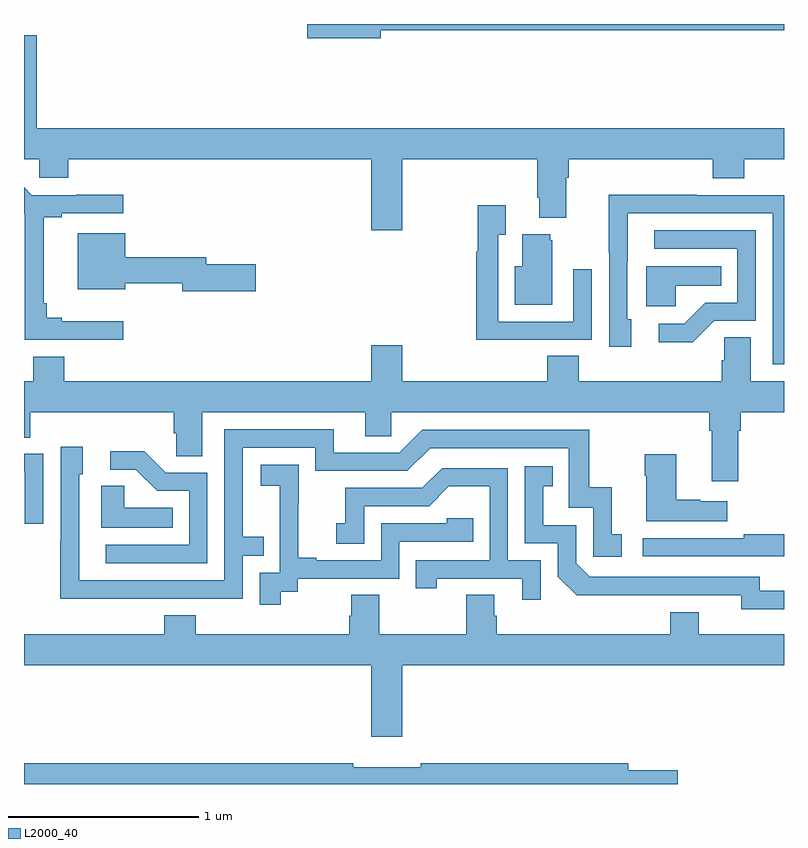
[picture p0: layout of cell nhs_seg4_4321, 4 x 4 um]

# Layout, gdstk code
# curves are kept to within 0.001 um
import gdstk
lib = gdstk.Library(unit=1e-6, precision=1e-09)
def P(c, l, *ps):  # polygons
    for p in ps: c.add(gdstk.Polygon(p, *l))
L2000_40 = (2000, 40)

nhs_seg4_4321 = lib.new_cell('nhs_seg4_4321')
P(nhs_seg4_4321, L2000_40, [(344.878,762.868),(347,762.868),(347,762.9),(344.49,762.9),(344.49,762.826),(344.878,762.826)],
  [(344.992,762.188),(345.701,762.188),(345.701,761.986),(345.713,761.986),(345.713,761.879),(345.853,761.879),(345.853,762.092),(345.866,762.092),(345.866,762.188),(346.625,762.188),(346.625,762.089),(346.79,762.089),(346.79,762.188),(347,762.188),(347,762.352),(343.067,762.352),(343.067,762.841),(343,762.841),(343,762.188),(343.08,762.188),(343.08,762.09),(343.232,762.09),(343.232,762.188),(344.828,762.188),(344.828,761.814),(344.992,761.814)],
  [(343.522,761.335),(343.198,761.335),(343.198,761.354),(343.121,761.354),(343.121,761.431),(343.103,761.431),(343.103,761.884),(343.198,761.884),(343.198,761.904),(343.522,761.904),(343.522,762.002),(343.275,762.002),(343.275,762),(343.042,762),(343,762.042),(343,761.9),(343.005,761.895),(343.005,761.238),(343.522,761.237)],
  [(347,762),(346.541,762),(346.541,762.002),(346.078,762.002),(346.078,761.695),(346.08,761.695),(346.08,761.202),(346.195,761.202),(346.195,761.346),(346.176,761.346),(346.176,761.65),(346.177,761.65),(346.177,761.904),(346.941,761.904),(346.941,761.109),(347,761.109)],
  [(345.671,761.238),(345.987,761.238),(345.987,761.608),(345.891,761.608),(345.891,761.334),(345.495,761.334),(345.495,761.791),(345.535,761.791),(345.535,761.947),(345.387,761.947),(345.387,761.702),(345.379,761.702),(345.379,761.237),(345.671,761.237)],
  [(346.632,761.337),(346.851,761.337),(346.851,761.814),(346.317,761.814),(346.317,761.718),(346.755,761.718),(346.755,761.433),(346.586,761.433),(346.475,761.322),(346.341,761.322),(346.341,761.225),(346.519,761.225)],
  [(344.221,761.636),(343.96,761.636),(343.96,761.672),(343.534,761.672),(343.534,761.8),(343.283,761.8),(343.283,761.504),(343.534,761.504),(343.534,761.536),(343.832,761.536),(343.832,761.494),(344.221,761.494)],
  [(345.781,761.763),(345.77,761.763),(345.77,761.794),(345.623,761.794),(345.623,761.626),(345.584,761.626),(345.584,761.423),(345.781,761.423)],
  [(346.431,761.522),(346.67,761.522),(346.67,761.626),(346.274,761.626),(346.274,761.414),(346.431,761.414)],
  [(346.759,760.76),(346.772,760.76),(346.772,760.856),(347,760.856),(347,761.02),(346.825,761.02),(346.825,761.252),(346.686,761.252),(346.686,761.129),(346.673,761.129),(346.673,761.02),(345.92,761.02),(345.92,761.153),(345.755,761.153),(345.755,761.02),(344.992,761.02),(344.992,761.209),(344.828,761.209),(344.828,761.02),(343.213,761.02),(343.213,761.149),(343.049,761.149),(343.049,761.02),(343,761.02),(343,760.723),(343.034,760.723),(343.034,760.856),(343.787,760.856),(343.787,760.747),(343.8,760.747),(343.8,760.624),(343.939,760.624),(343.939,760.856),(344.795,760.856),(344.795,760.729),(344.934,760.729),(344.934,760.856),(346.607,760.856),(346.607,760.76),(346.619,760.76),(346.619,760.494),(346.759,760.494)],
  [(343.655,759.876),(344.151,759.876),(344.151,760.101),(344.261,760.101),(344.261,760.202),(344.151,760.202),(344.151,760.671),(344.532,760.671),(344.532,760.548),(345.018,760.548),(345.138,760.668),(345.867,760.668),(345.867,760.353),(345.996,760.353),(345.996,760.095),(346.147,760.095),(346.147,760.215),(346.094,760.215),(346.094,760.462),(345.976,760.462),(345.976,760.764),(345.096,760.764),(344.976,760.644),(344.629,760.644),(344.629,760.767),(344.055,760.767),(344.055,759.972),(343.29,759.972),(343.29,760.53),(343.309,760.53),(343.309,760.675),(343.194,760.675),(343.194,760.181),(343.192,760.181),(343.192,759.875)],
  [(343.965,760.539),(343.746,760.539),(343.633,760.652),(343.455,760.652),(343.455,760.554),(343.589,760.554),(343.7,760.443),(343.869,760.443),(343.869,760.158),(343.431,760.158),(343.431,760.062),(343.965,760.062)],
  [(343.101,760.638),(343,760.638),(343,760.542),(343.005,760.542),(343.005,760.269),(343.101,760.269)],
  [(346.702,760.387),(346.559,760.387),(346.559,760.397),(346.432,760.397),(346.432,760.636),(346.267,760.636),(346.267,760.523),(346.274,760.523),(346.274,760.283),(346.702,760.283)],
  [(344.35,759.913),(344.442,759.913),(344.442,759.981),(344.976,759.981),(344.976,760.176),(345.365,760.176),(345.365,760.299),(345.225,760.299),(345.225,760.272),(344.88,760.272),(344.88,760.077),(344.539,760.077),(344.539,760.09),(344.444,760.09),(344.444,760.373),(344.445,760.373),(344.445,760.579),(344.247,760.579),(344.247,760.469),(344.345,760.469),(344.345,760.241),(344.346,760.241),(344.346,760.011),(344.241,760.011),(344.241,759.843),(344.35,759.843)],
  [(347,759.918),(346.872,759.918),(346.872,759.99),(345.978,759.99),(345.906,760.062),(345.906,760.263),(345.733,760.263),(345.733,760.467),(345.782,760.467),(345.782,760.573),(345.636,760.573),(345.636,760.167),(345.81,760.167),(345.81,759.99),(345.908,759.893),(346.776,759.894),(346.776,759.821),(347,759.821)],
  [(345.72,760.077),(345.546,760.077),(345.546,760.563),(345.2,760.563),(345.095,760.458),(344.692,760.458),(344.692,760.273),(344.643,760.273),(344.643,760.164),(344.79,760.164),(344.79,760.362),(345.132,760.362),(345.236,760.466),(345.45,760.466),(345.45,760.077),(345.061,760.077),(345.061,759.93),(345.172,759.93),(345.172,759.981),(345.623,759.981),(345.623,759.87),(345.72,759.87)],
  [(343.784,760.354),(343.527,760.354),(343.527,760.469),(343.406,760.469),(343.406,760.25),(343.784,760.25)],
  [(347,760.214),(346.789,760.214),(346.789,760.194),(346.257,760.194),(346.257,760.098),(347,760.098)],
  [(344.992,759.524),(347,759.524),(347,759.688),(346.552,759.688),(346.552,759.805),(346.4,759.805),(346.4,759.688),(345.488,759.688),(345.488,759.786),(345.475,759.786),(345.475,759.896),(345.328,759.896),(345.328,759.688),(344.871,759.688),(344.871,759.896),(344.723,759.896),(344.723,759.786),(344.711,759.786),(344.711,759.688),(343.904,759.688),(343.904,759.787),(343.739,759.787),(343.739,759.688),(343,759.688),(343,759.524),(344.828,759.524),(344.828,759.15),(344.992,759.15)],
  [(346.441,758.972),(346.18,758.972),(346.18,759.008),(345.088,759.008),(345.088,758.989),(344.732,758.989),(344.732,759.008),(343,759.008),(343,758.9),(346.441,758.9)])

lib.write_gds('nhs_seg4_4321.gds')
